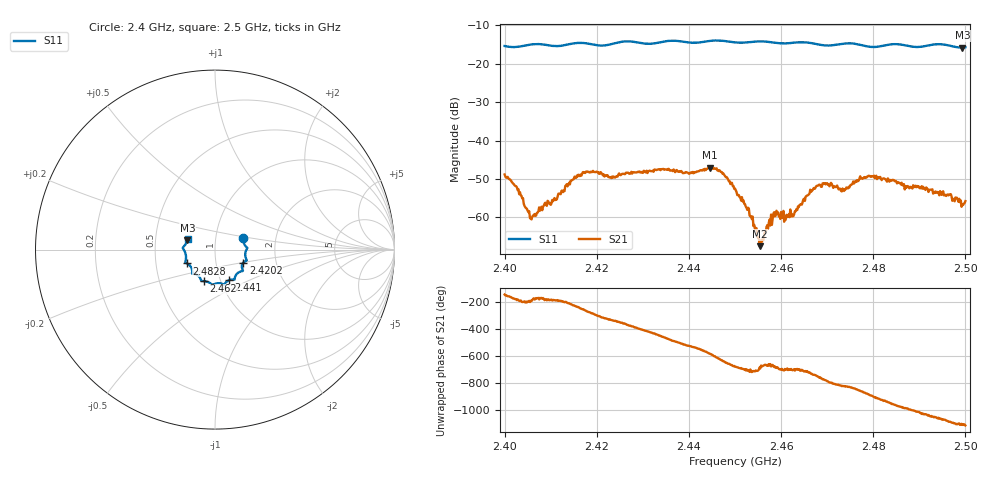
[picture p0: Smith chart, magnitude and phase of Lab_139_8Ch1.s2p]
# Hz S RI R 50
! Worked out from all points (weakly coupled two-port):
!   601 points, 2.4 GHz to 2.5 GHz, reference 50 ohm
!   highest |S21| = -47.01 dB at 2.4445 GHz (marker M1); lowest = -67.5 dB at 2.4553 GHz (marker M2)
!   lowest |S11| = -15.8 dB at 2.4993 GHz (marker M3), VSWR 1.39, Z = 36.5 + j3.88 ohm
!   |S11| at or under -10 dB: start of sweep to end of sweep
!   S12 and S22 are empty: the file has one direction only
!   S11 on the Smith chart (normalised r, x): 2.4 GHz: 1.36, +0.17; 2.4202 GHz: 1.36, -0.20; 2.441 GHz: 1.10, -0.39; 2.462 GHz: 0.84, -0.30; 2.4828 GHz: 0.72, -0.11; 2.5 GHz: 0.73, +0.09
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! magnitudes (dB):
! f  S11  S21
! 2.4 GHz  -15.4  -48.8
! 2.4025 GHz  -15.6  -51.9
! 2.406 GHz  -14.9  -59.8
! 2.4167 GHz  -14.6  -49.1
! 2.4202 GHz  -15.2  -48.3
! 2.4333 GHz  -14.5  -47.5
! 2.441 GHz  -14.5  -48.5
! 2.4445 GHz  -14.1  -47.0
! 2.4472 GHz  -14.0  -48.2
! 2.45 GHz  -14.4  -52.5
! 2.4533 GHz  -14.4  -59.7
! 2.4553 GHz  -14.2  -67.5
! 2.4588 GHz  -14.6  -59.5
! 2.462 GHz  -14.6  -57.9
! 2.4667 GHz  -14.6  -53.1
! 2.4695 GHz  -15.2  -51.1
! 2.4735 GHz  -14.8  -52.8
! 2.4792 GHz  -15.6  -49.2
! 2.4828 GHz  -15.1  -50.4
! 2.4833 GHz  -15.0  -50.2
! 2.4993 GHz  -15.8  -56.5
! 2.5 GHz  -15.7  -55.8
